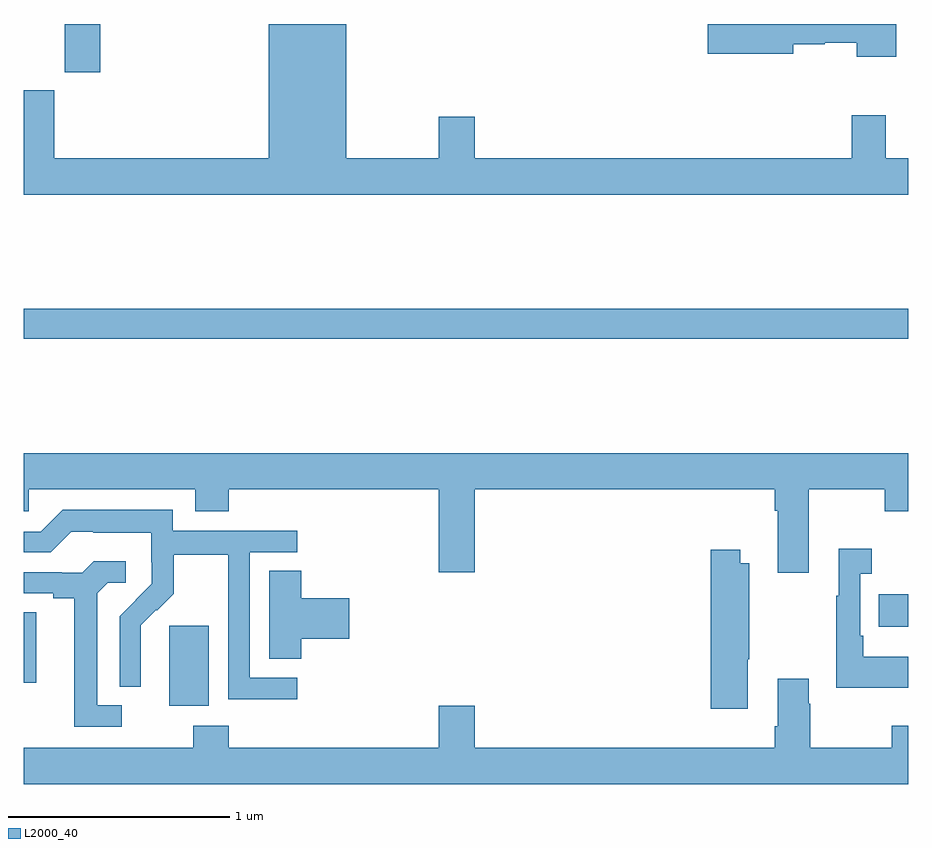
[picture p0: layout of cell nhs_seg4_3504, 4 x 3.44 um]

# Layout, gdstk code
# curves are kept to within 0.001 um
import gdstk
lib = gdstk.Library(unit=1e-6, precision=1e-09)
def R(c, l, rs):  # rectangles x0, y0, x1, y1
    for r in rs: c.add(gdstk.rectangle(r[:2], r[2:], *l))
def P(c, l, *ps):  # polygons
    for p in ps: c.add(gdstk.Polygon(p, *l))
L2000_40 = (2000, 40)

nhs_seg4_3504 = lib.new_cell('nhs_seg4_3504')
R(nhs_seg4_3504, L2000_40, [(295.658,819.818,295.837,820.179), (295,819.921,295.057,820.241), (298.867,820.175,299,820.323), (295,821.476,299,821.612), (295.186,822.681,295.346,822.9)])
P(nhs_seg4_3504, L2000_40, [(298.945,822.9),(298.092,822.9),(298.092,822.766),(298.48,822.766),(298.48,822.808),(298.623,822.808),(298.623,822.816),(298.766,822.816),(298.766,822.752),(298.945,822.752)],
  [(299,822.292),(298.897,822.292),(298.897,822.487),(298.745,822.487),(298.745,822.292),(297.04,822.292),(297.04,822.481),(296.876,822.481),(296.876,822.292),(296.458,822.292),(296.458,822.898),(296.108,822.898),(296.108,822.292),(295.138,822.292),(295.138,822.601),(295,822.601),(295,822.128),(299,822.128)],
  [(295,820.698),(295.023,820.698),(295.023,820.796),(295.775,820.796),(295.775,820.697),(295.928,820.697),(295.928,820.796),(296.876,820.796),(296.876,820.422),(297.04,820.422),(297.04,820.796),(298.397,820.796),(298.397,820.7),(298.409,820.7),(298.409,820.419),(298.549,820.419),(298.549,820.796),(298.894,820.796),(298.894,820.697),(299,820.697),(299,820.96),(295,820.96)],
  [(296.236,819.945),(296.022,819.945),(296.022,820.512),(296.236,820.512),(296.236,820.608),(295.674,820.608),(295.674,820.705),(295.177,820.705),(295.077,820.605),(295,820.605),(295,820.512),(295.122,820.512),(295.215,820.605),(295.315,820.605),(295.315,820.601),(295.578,820.601),(295.578,820.467),(295.58,820.467),(295.58,820.37),(295.434,820.222),(295.434,819.904),(295.53,819.904),(295.529,820.181),(295.599,820.251),(295.602,820.248),(295.679,820.325),(295.679,820.5),(295.924,820.5),(295.924,820.276),(295.926,820.276),(295.926,819.847),(296.236,819.847)],
  [(299,820.039),(298.795,820.039),(298.795,820.135),(298.782,820.135),(298.782,820.415),(298.834,820.415),(298.834,820.528),(298.685,820.528),(298.685,820.315),(298.674,820.315),(298.674,819.899),(299,819.899)],
  [(298.273,820.027),(298.281,820.027),(298.281,820.462),(298.24,820.462),(298.24,820.522),(298.106,820.522),(298.106,819.804),(298.273,819.804)],
  [(295.444,819.819),(295.333,819.819),(295.333,820.327),(295.38,820.374),(295.462,820.374),(295.462,820.471),(295.318,820.471),(295.266,820.419),(295.172,820.419),(295.172,820.422),(295,820.422),(295,820.326),(295.133,820.326),(295.133,820.304),(295.229,820.304),(295.229,819.723),(295.444,819.723)],
  [(296.255,820.121),(296.473,820.121),(296.473,820.304),(296.255,820.304),(296.255,820.427),(296.111,820.427),(296.111,820.03),(296.255,820.03)],
  [(299,819.727),(298.924,819.727),(298.924,819.628),(298.557,819.628),(298.557,819.827),(298.549,819.827),(298.549,819.94),(298.409,819.94),(298.409,819.724),(298.397,819.724),(298.397,819.628),(297.04,819.628),(297.04,819.817),(296.876,819.817),(296.876,819.628),(295.928,819.628),(295.928,819.727),(295.768,819.727),(295.768,819.628),(295,819.628),(295,819.464),(299,819.464)])

lib.write_gds('nhs_seg4_3504.gds')
